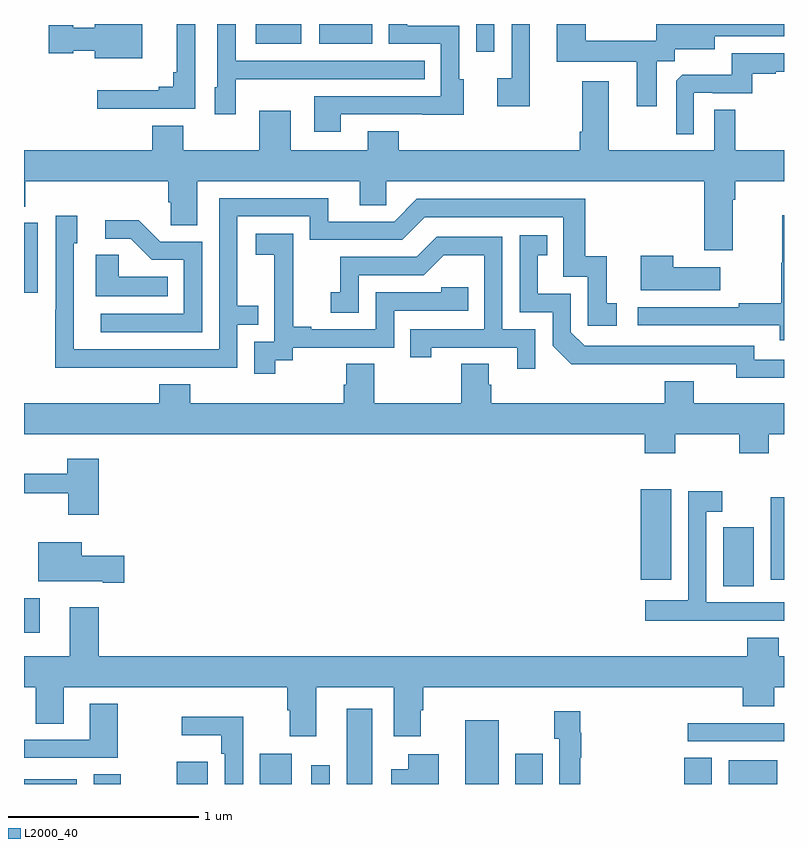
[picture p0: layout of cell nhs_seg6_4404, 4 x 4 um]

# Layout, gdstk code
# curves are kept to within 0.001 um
import gdstk
lib = gdstk.Library(unit=1e-6, precision=1e-09)
def R(c, l, rs):  # rectangles x0, y0, x1, y1
    for r in rs: c.add(gdstk.rectangle(r[:2], r[2:], *l))
def P(c, l, *ps):  # polygons
    for p in ps: c.add(gdstk.Polygon(p, *l))
L2000_40 = (2000, 40)

nhs_seg6_4404 = lib.new_cell('nhs_seg6_4404')
R(nhs_seg6_4404, L2000_40, [(371,941.5,371.278,941.524), (371.366,941.5,371.508,941.552), (371.804,941.5,371.968,941.617), (372.242,941.5,372.409,941.659), (372.513,941.5,372.609,941.599), (372.698,941.5,372.832,941.896), (373.322,941.5,373.498,941.836), (373.586,941.5,373.729,941.659), (374.474,941.5,374.62,941.639), (374.708,941.5,374.965,941.626), (374.493,941.724,375,941.82), (371,942.297,371.083,942.477), (374.681,942.541,374.842,942.852), (374.246,942.576,374.407,943.051), (374.93,942.576,375,943.009), (371,944.085,371.073,944.454), (373.38,945.354,373.476,945.5), (372.221,945.395,372.46,945.5), (372.554,945.395,372.832,945.5)])
P(nhs_seg6_4404, L2000_40, [(374.329,945.304),(374.424,945.304),(374.424,945.368),(374.635,945.368),(374.635,945.435),(375,945.435),(375,945.5),(374.328,945.5),(374.328,945.412),(373.957,945.412),(373.957,945.5),(373.805,945.5),(373.805,945.302),(374.225,945.302),(374.225,945.066),(374.329,945.066)],
  [(372.667,945.024),(373.097,945.024),(373.097,945.023),(373.315,945.023),(373.315,945.21),(373.29,945.21),(373.29,945.492),(373.017,945.492),(373.017,945.5),(372.921,945.5),(372.921,945.396),(373.194,945.396),(373.194,945.12),(372.527,945.12),(372.527,944.934),(372.667,944.934)],
  [(372.114,945.209),(372.431,945.209),(372.431,945.21),(373.109,945.21),(373.109,945.306),(372.114,945.306),(372.114,945.5),(372.018,945.5),(372.018,945.168),(372.005,945.168),(372.005,945.024),(372.114,945.024)],
  [(371.623,945.5),(371.372,945.5),(371.372,945.481),(371.259,945.481),(371.259,945.494),(371.13,945.494),(371.13,945.347),(371.259,945.347),(371.259,945.359),(371.372,945.359),(371.372,945.32),(371.623,945.32)],
  [(371.901,945.5),(371.804,945.5),(371.804,945.247),(371.785,945.247),(371.785,945.17),(371.708,945.17),(371.708,945.151),(371.385,945.151),(371.385,945.054),(371.901,945.054)],
  [(373.663,945.5),(373.566,945.5),(373.566,945.214),(373.491,945.214),(373.491,945.066),(373.663,945.066)],
  [(374.526,945.138),(374.626,945.138),(374.626,945.135),(374.834,945.135),(374.834,945.237),(374.957,945.237),(374.957,945.248),(375,945.248),(375,945.345),(374.724,945.345),(374.724,945.233),(374.465,945.233),(374.433,945.201),(374.433,944.921),(374.526,944.921)],
  [(374.731,944.576),(374.744,944.576),(374.744,944.672),(375,944.672),(375,944.836),(374.743,944.836),(374.743,945.05),(374.634,945.05),(374.634,944.836),(374.077,944.836),(374.077,945.199),(373.937,945.199),(373.937,944.932),(373.925,944.932),(373.925,944.836),(372.973,944.836),(372.973,944.935),(372.809,944.935),(372.809,944.836),(372.403,944.836),(372.403,945.043),(372.239,945.043),(372.239,944.836),(371.839,944.836),(371.839,944.965),(371.675,944.965),(371.675,944.836),(371,944.836),(371,944.539),(371.006,944.539),(371.006,944.672),(371.759,944.672),(371.759,944.563),(371.772,944.563),(371.772,944.44),(371.911,944.44),(371.911,944.672),(372.767,944.672),(372.767,944.545),(372.906,944.545),(372.906,944.672),(374.579,944.672),(374.579,944.31),(374.731,944.31)],
  [(371.627,943.692),(372.123,943.692),(372.123,943.917),(372.233,943.917),(372.233,944.018),(372.123,944.018),(372.123,944.487),(372.504,944.487),(372.504,944.364),(372.99,944.364),(373.11,944.484),(373.839,944.484),(373.839,944.169),(373.968,944.169),(373.968,943.911),(374.119,943.911),(374.119,944.031),(374.066,944.031),(374.066,944.278),(373.955,944.278),(373.955,944.58),(373.068,944.58),(372.948,944.46),(372.601,944.46),(372.601,944.583),(372.027,944.583),(372.027,943.788),(371.262,943.788),(371.262,944.346),(371.281,944.346),(371.281,944.491),(371.166,944.491),(371.166,943.997),(371.164,943.997),(371.164,943.691)],
  [(375,944.494),(374.992,944.494),(374.992,944.244),(374.985,944.244),(374.985,944.03),(374.761,944.03),(374.761,944.01),(374.229,944.01),(374.229,943.914),(374.977,943.914),(374.977,943.836),(375,943.836)],
  [(371.937,944.355),(371.718,944.355),(371.605,944.468),(371.427,944.468),(371.427,944.37),(371.561,944.37),(371.672,944.259),(371.841,944.259),(371.841,943.974),(371.403,943.974),(371.403,943.878),(371.937,943.878)],
  [(372.322,943.729),(372.414,943.729),(372.414,943.797),(372.948,943.797),(372.948,943.992),(373.337,943.992),(373.337,944.115),(373.197,944.115),(373.197,944.088),(372.852,944.088),(372.852,943.893),(372.511,943.893),(372.511,943.906),(372.416,943.906),(372.416,944.189),(372.417,944.189),(372.417,944.395),(372.219,944.395),(372.219,944.285),(372.317,944.285),(372.317,944.057),(372.318,944.057),(372.318,943.827),(372.213,943.827),(372.213,943.659),(372.322,943.659)],
  [(375,943.734),(374.844,943.734),(374.844,943.806),(373.95,943.806),(373.878,943.878),(373.878,944.079),(373.705,944.079),(373.705,944.283),(373.754,944.283),(373.754,944.389),(373.608,944.389),(373.608,943.983),(373.782,943.983),(373.782,943.806),(373.88,943.709),(374.748,943.71),(374.748,943.637),(375,943.637)],
  [(373.692,943.893),(373.518,943.893),(373.518,944.379),(373.172,944.379),(373.067,944.274),(372.664,944.274),(372.664,944.089),(372.615,944.089),(372.615,943.98),(372.762,943.98),(372.762,944.178),(373.104,944.178),(373.208,944.282),(373.422,944.282),(373.422,943.893),(373.033,943.893),(373.033,943.746),(373.144,943.746),(373.144,943.797),(373.595,943.797),(373.595,943.686),(373.692,943.686)],
  [(371.756,944.17),(371.499,944.17),(371.499,944.285),(371.378,944.285),(371.378,944.066),(371.756,944.066)],
  [(374.665,944.221),(374.417,944.221),(374.417,944.281),(374.246,944.281),(374.246,944.099),(374.665,944.099)],
  [(374.427,943.34),(374.764,943.34),(374.764,943.241),(374.919,943.241),(374.919,943.34),(375,943.34),(375,943.504),(374.524,943.504),(374.524,943.621),(374.372,943.621),(374.372,943.504),(373.46,943.504),(373.46,943.602),(373.447,943.602),(373.447,943.712),(373.3,943.712),(373.3,943.504),(372.843,943.504),(372.843,943.712),(372.695,943.712),(372.695,943.602),(372.683,943.602),(372.683,943.504),(371.876,943.504),(371.876,943.603),(371.711,943.603),(371.711,943.504),(371,943.504),(371,943.34),(374.267,943.34),(374.267,943.241),(374.427,943.241)],
  [(371.393,943.213),(371.228,943.213),(371.228,943.133),(371,943.133),(371,943.03),(371.233,943.03),(371.233,942.918),(371.393,942.918)],
  [(374.689,942.36),(375,942.36),(375,942.456),(374.592,942.456),(374.592,942.933),(374.674,942.933),(374.674,943.042),(374.496,943.042),(374.496,942.466),(374.271,942.466),(374.271,942.359),(374.689,942.359)],
  [(371.527,942.701),(371.305,942.701),(371.305,942.772),(371.075,942.772),(371.075,942.566),(371.414,942.566),(371.414,942.559),(371.527,942.559)],
  [(372.538,942.008),(372.947,942.008),(372.947,941.751),(373.087,941.751),(373.087,941.888),(373.1,941.888),(373.1,942.008),(374.783,942.008),(374.783,941.909),(374.948,941.909),(374.948,942.008),(375,942.008),(375,942.172),(374.972,942.172),(374.972,942.271),(374.807,942.271),(374.807,942.172),(371.393,942.172),(371.393,942.43),(371.24,942.43),(371.24,942.172),(371,942.172),(371,942.008),(371.062,942.008),(371.062,941.818),(371.209,941.818),(371.209,942.008),(372.386,942.008),(372.386,941.888),(372.398,941.888),(372.398,941.751),(372.538,941.751)],
  [(371.493,941.923),(371.345,941.923),(371.345,941.733),(371,941.733),(371,941.637),(371.493,941.637)],
  [(373.927,941.639),(373.934,941.639),(373.934,941.771),(373.927,941.771),(373.927,941.884),(373.792,941.884),(373.792,941.739),(373.818,941.739),(373.818,941.5),(373.927,941.5)],
  [(372.153,941.854),(371.829,941.854),(371.829,941.756),(372.037,941.756),(372.037,941.66),(372.057,941.66),(372.057,941.5),(372.153,941.5)],
  [(373.183,941.656),(373.022,941.656),(373.022,941.578),(372.932,941.578),(372.932,941.5),(373.183,941.5)])

lib.write_gds('nhs_seg6_4404.gds')
